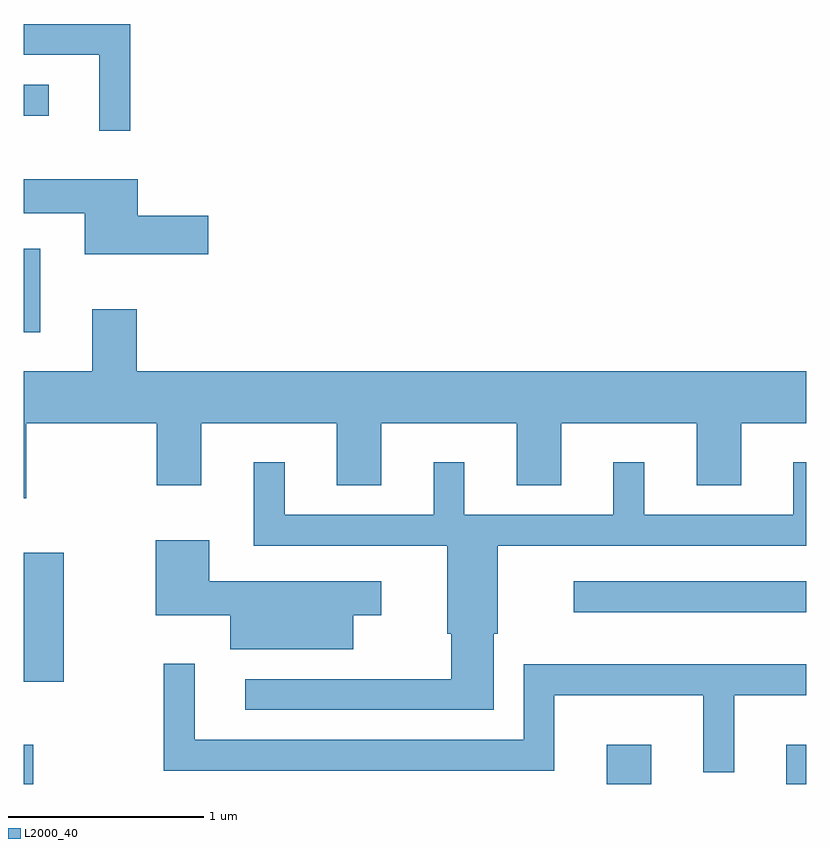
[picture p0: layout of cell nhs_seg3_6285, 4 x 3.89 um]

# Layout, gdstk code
import gdstk
lib = gdstk.Library(unit=1e-6, precision=1e-09)
def R(c, l, rs):  # rectangles x0, y0, x1, y1
    for r in rs: c.add(gdstk.rectangle(r[:2], r[2:], *l))
def P(c, l, *ps):  # polygons
    for p in ps: c.add(gdstk.Polygon(p, *l))
L2000_40 = (2000, 40)

nhs_seg3_6285 = lib.new_cell('nhs_seg3_6285')
R(nhs_seg3_6285, L2000_40, [(369.611,1181.892,369.659,1182.094), (372.591,1181.892,372.819,1182.094), (373.511,1181.892,373.611,1182.094), (369.611,1182.416,369.814,1183.074), (372.423,1182.771,373.611,1182.929), (369.611,1184.203,369.694,1184.629), (369.611,1185.311,369.738,1185.469)])
P(nhs_seg3_6285, L2000_40, [(370.154,1185.779),(369.611,1185.779),(369.611,1185.621),(369.996,1185.621),(369.996,1185.233),(370.154,1185.233)],
  [(370.554,1184.799),(370.194,1184.799),(370.194,1184.984),(369.611,1184.984),(369.611,1184.811),(369.921,1184.811),(369.921,1184.601),(370.554,1184.601)],
  [(369.624,1183.736),(370.291,1183.736),(370.291,1183.421),(370.519,1183.421),(370.519,1183.736),(371.211,1183.736),(371.211,1183.421),(371.439,1183.421),(371.439,1183.736),(372.131,1183.736),(372.131,1183.421),(372.359,1183.421),(372.359,1183.736),(373.051,1183.736),(373.051,1183.421),(373.279,1183.421),(373.279,1183.736),(373.611,1183.736),(373.611,1184.004),(370.189,1184.004),(370.189,1184.319),(369.961,1184.319),(369.961,1184.004),(369.611,1184.004),(369.611,1183.353),(369.624,1183.353)],
  [(372.014,1182.661),(372.034,1182.661),(372.034,1183.111),(373.611,1183.111),(373.611,1183.538),(373.546,1183.538),(373.546,1183.269),(372.784,1183.269),(372.784,1183.538),(372.626,1183.538),(372.626,1183.269),(371.864,1183.269),(371.864,1183.538),(371.706,1183.538),(371.706,1183.269),(370.944,1183.269),(370.944,1183.538),(370.786,1183.538),(370.786,1183.111),(371.776,1183.111),(371.776,1182.661),(371.796,1182.661),(371.796,1182.429),(370.743,1182.429),(370.743,1182.271),(372.014,1182.271)],
  [(371.294,1182.756),(371.439,1182.756),(371.439,1182.929),(370.559,1182.929),(370.559,1183.139),(370.286,1183.139),(370.286,1182.756),(370.666,1182.756),(370.666,1182.581),(371.294,1182.581)],
  [(373.244,1182.346),(373.611,1182.346),(373.611,1182.504),(372.166,1182.504),(372.166,1182.119),(370.484,1182.119),(370.484,1182.508),(370.326,1182.508),(370.326,1181.961),(372.324,1181.961),(372.324,1182.346),(373.086,1182.346),(373.086,1181.953),(373.244,1181.953)])

lib.write_gds('nhs_seg3_6285.gds')
